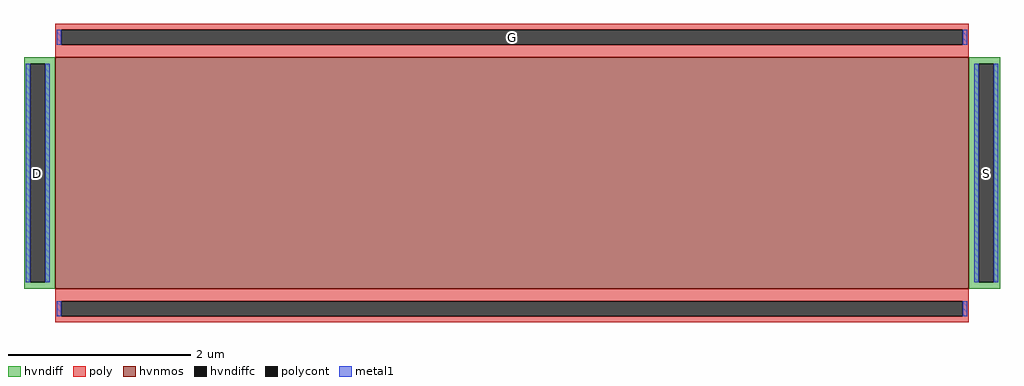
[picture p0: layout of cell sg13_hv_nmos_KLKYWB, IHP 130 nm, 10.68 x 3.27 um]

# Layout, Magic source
magic
tech ihp-sg13cmos5l
magscale 1 2
<< hvnmos >>
rect -1000 -253 1000 253
<< hvndiff >>
rect -1068 239 -1000 253
rect -1068 -239 -1054 239
rect -1022 -239 -1000 239
rect -1068 -253 -1000 -239
rect 1000 239 1068 253
rect 1000 -239 1022 239
rect 1054 -239 1068 239
rect 1000 -253 1068 -239
<< hvndiffc >>
rect -1054 -239 -1022 239
rect 1022 -239 1054 239
<< poly >>
rect -1000 313 1000 327
rect -1000 281 -986 313
rect 986 281 1000 313
rect -1000 253 1000 281
rect -1000 -281 1000 -253
rect -1000 -313 -986 -281
rect 986 -313 1000 -281
rect -1000 -327 1000 -313
<< polycont >>
rect -986 281 986 313
rect -986 -313 986 -281
<< metal1 >>
rect -996 281 -986 313
rect 986 281 996 313
rect -1064 -239 -1054 239
rect -1022 -239 -1012 239
rect 1012 -239 1022 239
rect 1054 -239 1064 239
rect -996 -313 -986 -281
rect 986 -313 996 -281
<< labels >>
rlabel hvndiffc -1038 0 -1038 0 0 D
port 10 nsew
rlabel hvndiffc 1038 0 1038 0 0 S
port 11 nsew
rlabel polycont 0 297 0 297 0 G
port 12 nsew
<< properties >>
string gencell sg13_hv_nmos
string library sg13cmos5l
string parameters w 2.53 l 10.0 m 1 ng 1 diffcov 100 polycov 100 guard 0 glc 1 grc 1 gtc 1 gbc 1 tbcov 100 rlcov 100 topc 1 botc 1 poverlap 0 doverlap 1 lmin 0.45 wmin 0.15 class mosfet compatible {sg13_lv_nmos sg13_hv_nmos} full_metal 1 conn_gates 0 gate_ring 0 doports 1 viasrc 0 viadrn 0 viagate 0 ccols 1 viagb 0 viagr 0 viagl 0 viagt 0
<< end >>
